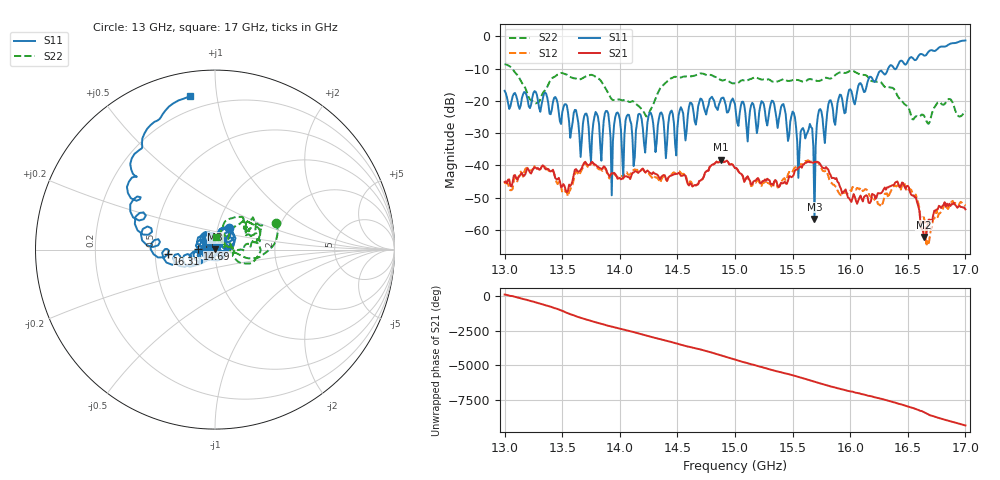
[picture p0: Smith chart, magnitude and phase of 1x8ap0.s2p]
!Keysight Technologies,P9374A,MY57211807,A.19.30.04
!Date: Friday, May 08, 2026 14:32:04
!Correction: S11(C  2-Port  )
!S21(C  2-Port  )
!S12(C  2-Port  )
!S22(C  2-Port  )
!S2P File: Measurements: S11, S21, S12, S22:
# Hz S  dB  R 50
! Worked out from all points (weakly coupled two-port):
!   401 points, 13 GHz to 17 GHz, reference 50 ohm
!   highest |S21| = -38.22 dB at 14.88 GHz (marker M1); lowest = -62.2 dB at 16.64 GHz (marker M2)
!   lowest |S11| = -56.6 dB at 15.69 GHz (marker M3), VSWR 1.00, Z = 50 + j0.145 ohm
!   |S11| at or under -10 dB: start of sweep to 16.33 GHz; 16.3841 GHz to 16.39854 GHz (14.43 MHz wide, 0.0881 % of centre)
!   |S22| runs from -27.1 to -8.6 dB; largest |S21 - S12| = 0.0022
!   S11 on the Smith chart (normalised r, x): 13 GHz: 1.13, +0.28; 14.69 GHz: 0.83, +0.01; 16.31 GHz: 0.58, -0.03; 17 GHz: 0.12, +0.84
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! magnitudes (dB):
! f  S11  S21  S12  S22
! 13 GHz  -16.9  -45.2  -45.7  -8.6
! 13.27 GHz  -17.2  -40.7  -39.9  -20.7
! 13.53 GHz  -21.0  -47.6  -48.3  -11.7
! 13.67 GHz  -32.1  -40.8  -41.3  -13.1
! 13.88 GHz  -23.1  -41.1  -41.3  -16.3
! 13.93 GHz  -49.3  -42.4  -42.0  -19.5
! 13.98 GHz  -23.6  -44.1  -43.6  -19.6
! 14.23 GHz  -31.3  -41.9  -42.3  -24.8
! 14.34 GHz  -25.3  -43.6  -44.6  -16.8
! 14.69 GHz  -20.4  -44.8  -44.8  -11.5
! 14.88 GHz  -19.2  -38.2  -38.2  -13.5
! 15 GHz  -21.0  -40.9  -40.8  -14.5
! 15.42 GHz  -20.9  -45.5  -44.1  -13.2
! 15.67 GHz  -28.5  -39.1  -39.0  -13.4
! 15.69 GHz  -56.6  -38.8  -38.9  -13.6
! 15.74 GHz  -22.5  -39.6  -40.3  -13.7
! 16 GHz  -16.4  -50.7  -47.8  -10.7
! 16.31 GHz  -11.5  -47.5  -48.7  -15.8
! 16.34 GHz  -9.3  -46.5  -48.9  -15.8
! 16.51 GHz  -7.0  -46.8  -47.3  -22.3
! 16.64 GHz  -5.9  -62.2  -56.1  -24.5
! 17 GHz  -1.2  -53.6  -52.5  -23.1
